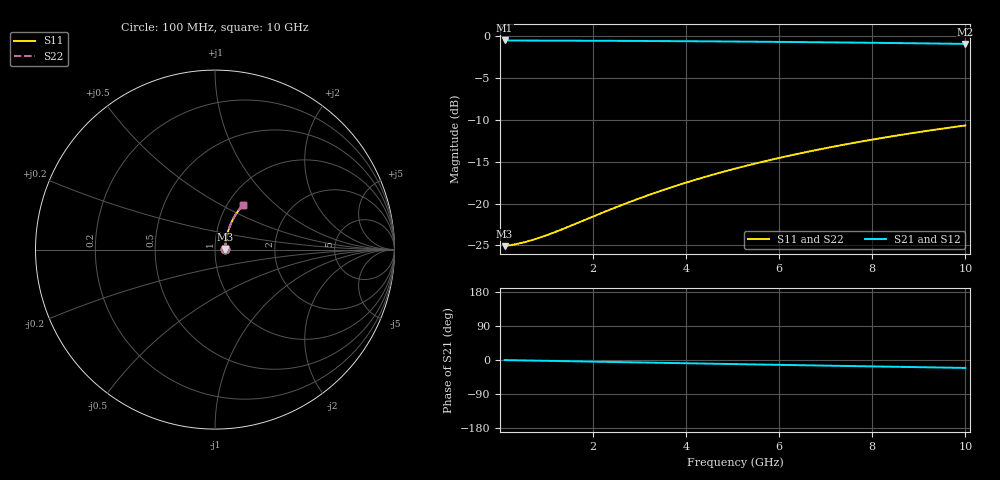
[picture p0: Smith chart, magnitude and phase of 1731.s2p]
# Hz S RI R 50.00
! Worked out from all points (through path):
!   100 points, 100 MHz to 10 GHz, reference 50 ohm
!   highest |S21| = -0.50 dB at 100 MHz (marker M1); lowest = -0.9 dB at 10 GHz (marker M2)
!   group delay of S21, straight-line fit = 5.82 ps
!   lowest |S11| = -25.1 dB at 100 MHz (marker M3), VSWR 1.12, Z = 55.9 + j0.317 ohm
!   |S11| at or under -10 dB: start of sweep to end of sweep
!   |S22| runs from -25.1 to -10.7 dB; largest |S21 - S12| = 0
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1e8  0.0555 0.00283  0.9445 -0.00356  0.9445 -0.00356  0.0555 0.00283
3e8  0.0562 0.00847  0.9438 -0.0107  0.9438 -0.0107  0.0562 0.00847
5e8  0.0568 0.0141  0.9432 -0.0177  0.9432 -0.0177  0.0568 0.0141
8e8  0.0576 0.0225  0.9424 -0.0283  0.9424 -0.0283  0.0576 0.0225
1e9  0.0582 0.0281  0.9418 -0.0354  0.9418 -0.0354  0.0582 0.0281
1.2e9  0.0588 0.0337  0.9411 -0.0425  0.9411 -0.0425  0.0588 0.0337
1.8e9  0.0612 0.0504  0.9387 -0.0635  0.9387 -0.0635  0.0612 0.0504
2.3e9  0.0636 0.0643  0.9362 -0.081  0.9362 -0.081  0.0636 0.0643
2.7e9  0.0659 0.0752  0.9339 -0.0948  0.9339 -0.0948  0.0659 0.0752
3.1e9  0.0685 0.0861  0.9312 -0.1086  0.9312 -0.1086  0.0685 0.0861
3.4e9  0.0706 0.0941  0.929 -0.1189  0.929 -0.1189  0.0706 0.0941
3.8e9  0.0737 0.1048  0.9258 -0.1324  0.9258 -0.1324  0.0737 0.1048
4.2e9  0.0771 0.1154  0.9223 -0.1459  0.9223 -0.1459  0.0771 0.1154
4.6e9  0.0808 0.1258  0.9185 -0.1592  0.9185 -0.1592  0.0808 0.1258
5.1e9  0.0859 0.1386  0.9134 -0.1757  0.9134 -0.1757  0.0859 0.1386
5.5e9  0.0902 0.1486  0.9089 -0.1886  0.9089 -0.1886  0.0902 0.1486
5.9e9  0.0948 0.1585  0.9042 -0.2014  0.9042 -0.2014  0.0948 0.1585
6.7e9  0.1048 0.1778  0.8939 -0.2265  0.8939 -0.2265  0.1048 0.1778
7.5e9  0.1158 0.1962  0.8826 -0.2508  0.8826 -0.2508  0.1158 0.1962
8.4e9  0.1292 0.216  0.8688 -0.2772  0.8688 -0.2772  0.1292 0.216
9.2e9  0.1421 0.2326  0.8556 -0.2997  0.8556 -0.2997  0.1421 0.2326
1e10  0.1557 0.2483  0.8415 -0.3213  0.8415 -0.3213  0.1557 0.2483
